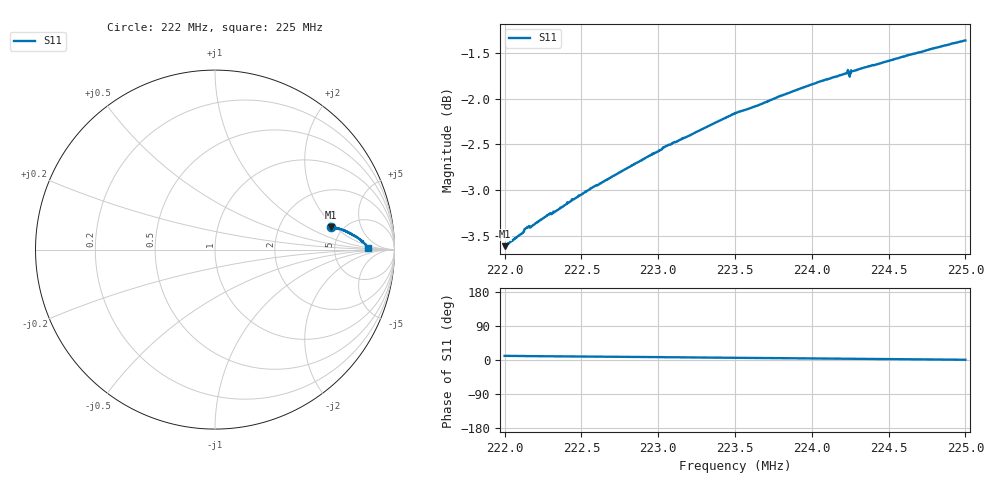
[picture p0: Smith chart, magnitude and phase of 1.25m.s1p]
! Calibrated averaged scanner-service zoom
# Hz S RI R 50
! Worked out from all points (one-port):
!   1001 points, 222 MHz to 225 MHz, reference 50 ohm
!   lowest |S11| = -3.6 dB at 222 MHz (marker M1), VSWR 4.87, Z = 202 + j89.5 ohm
!   |S11| at or under -10 dB: nowhere
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2.22e8  0.6475 0.1252
2.22105e8  0.6579 0.1231
2.22144e8  0.6642 0.1205
2.2218e8  0.6654 0.1216
2.22285e8  0.6756 0.1201
2.22318e8  0.6788 0.118
2.22375e8  0.6829 0.118
2.2257e8  0.7009 0.1133
2.2275e8  0.7159 0.108
2.22984e8  0.7352 0.1002
2.23011e8  0.7376 0.0989
2.23044e8  0.7415 0.0953
2.23092e8  0.7453 0.0933
2.23125e8  0.7473 0.0929
2.23185e8  0.7513 0.0924
2.23239e8  0.7558 0.0883
2.235e8  0.7755 0.0779
2.23647e8  0.7842 0.0729
2.23713e8  0.7884 0.0706
2.23875e8  0.7992 0.0638
2.24052e8  0.8099 0.0554
2.24184e8  0.8166 0.0495
2.24223e8  0.8187 0.0475
2.2425e8  0.8204 0.0461
2.24346e8  0.8253 0.0421
2.24625e8  0.8387 0.0284
2.24856e8  0.849 0.0166
2.25e8  0.8548 0.00964
